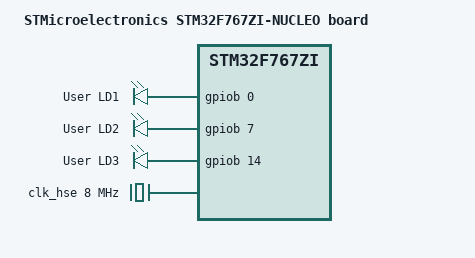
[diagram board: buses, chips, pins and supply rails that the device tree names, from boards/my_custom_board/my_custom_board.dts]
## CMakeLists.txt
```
cmake_minimum_required(VERSION 3.20.0)

list(APPEND BOARD_ROOT ${CMAKE_CURRENT_SOURCE_DIR})
find_package(Zephyr REQUIRED)
project(my_zephyr_app)

add_subdirectory(drivers/led_driver)
target_sources(app PRIVATE src/main.cpp)
```

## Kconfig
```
menuconfig LED_SUBSYSTEM
    bool "LED Subsystem"
    default y

if LED_SUBSYSTEM

config APP_HEARTBEAT_PERIOD_MS
    int "LED Heartbeat period (ms)"
    default 500
    range 100 2000
    
choice 
    prompt "LED blink sleep time"
    default BLINK_SLEEP_TIME_1000MS

config BLINK_SLEEP_TIME_250MS
    bool "Very fast (250ms)"

config BLINK_SLEEP_TIME_500MS
    bool "Fast (500ms)"

config BLINK_SLEEP_TIME_1000MS
    bool "Medium (1s)"

config BLINK_SLEEP_TIME_2000MS
    bool "Slow (2s)"

endchoice 

config BLINK_SLEEP_TIME_MS
    int 
    default 250 if BLINK_SLEEP_TIME_250MS
    default 500 if BLINK_SLEEP_TIME_500MS
    default 1000 if BLINK_SLEEP_TIME_1000MS
    default 2000 if BLINK_SLEEP_TIME_2000MS
    default 0


menuconfig ADVANCED_LED_SETTINGS
    bool "Advanced LED settings"
    default n

if ADVANCED_LED_SETTINGS
config LED_BRIGHTNESS
    int "LED brightness (0-100)"
    default 100
    range 0 100

config LED_FADE_DURATION_MS
    int "LED fade duration (ms)"
    default 500
    range 0 5000

menu "Expert settings"
    visible if ADVANCED_LED_SETTINGS
    
    config ENABLE_LED_DEBUGGING
        bool "Enable LED debugging"
        default n

    config CUSTOM_BLINK_PATTERN
        bool "Custom blink pattern"
        default n

endmenu

endif #ADVANCED_LED_SETTINGS
endif #LED_SUBSYSTEM

rsource "drivers/led_driver/Kconfig"
source "Kconfig.zephyr"
```

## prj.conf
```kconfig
CONFIG_GPIO=y
CONFIG_LOG=y
CONFIG_LED_SUBSYSTEM=y
CONFIG_BLINK_SLEEP_TIME_1000MS=y
CONFIG_APP_HEARTBEAT_PERIOD_MS=1000
CONFIG_LED_DRIVER=y
CONFIG_SHELL=y
```

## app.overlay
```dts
/ {
    led_driver0: led_driver {
        compatible = "led,driver";
        status = "okay";
    };
};
```

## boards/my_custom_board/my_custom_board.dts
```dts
/*
 * Copyright (c) 2019 Roland Ma
 *
 * SPDX-License-Identifier: Apache-2.0
 */

/dts-v1/;
#include <st/f7/stm32f767Xi.dtsi>
#include <st/f7/stm32f767zitx-pinctrl.dtsi>

/ {
	model = "STMicroelectronics STM32F767ZI-NUCLEO board";
	compatible = "st,stm32f767zi-nucleo";

	chosen {
		zephyr,sram = &sram0;
		zephyr,flash = &flash0;
		zephyr,code-partition = &slot0_partition;
	};

	leds: leds {
		compatible = "gpio-leds";

		green_led: led_0 {
			gpios = <&gpiob 0 GPIO_ACTIVE_HIGH>;
			label = "User LD1";
		};

		blue_led: led_1 {
			gpios = <&gpiob 7 GPIO_ACTIVE_HIGH>;
			label = "User LD2";
		};

		red_led: led_2 {
			gpios = <&gpiob 14 GPIO_ACTIVE_HIGH>;
			label = "User LD3";
		};
	};

	aliases {
		led0 = &green_led;
		led1 = &blue_led;
		led2 = &red_led;
	};
};

&flash0 {
	partitions {
		compatible = "fixed-partitions";
		#address-cells = <1>;
		#size-cells = <1>;

		/*
		 * The two sectors 0-1 (32+32 kbytes) are reserved for
		 * the bootloader.
		 */
		boot_partition: partition@0 {
			label = "mcuboot";
			reg = <0x0 DT_SIZE_K(64)>;
			read-only;
		};

		/*
		 * The flash starting at offset 0x10000 and ending at
		 * offset 0x1ffff is reserved for use by the application.
		 * This represents sectors 2-3 (32+32 kbytes)
		 */
		storage_partition: partition@10000 {
			label = "storage";
			reg = <0x00010000 DT_SIZE_K(64)>;
		};

		/*
		 * Sector 4 (128 kbytes) unallocated.
		 */

		/*
		 * Allocated 3 (256k x 3) sectors for image-0. Sectors 5-7.
		 */
		slot0_partition: partition@40000 {
			label = "image-0";
			reg = <0x00040000 DT_SIZE_K(768)>;
		};

		/*
		 * Allocated 3 (256k x 3) sectors for image-1. Sectors 8-10.
		 */
		slot1_partition: partition@100000 {
			label = "image-1";
			reg = <0x00100000 DT_SIZE_K(768)>;
		};

		/*
		 * Allocated 1 (256k) sector for image-scratch. Sector 11.
		 */
		scratch_partition: partition@1c0000 {
			label = "image-scratch";
			reg = <0x001c0000 DT_SIZE_K(256)>;
		};
	};
};

&clk_hse {
	hse-bypass;
	clock-frequency = <DT_FREQ_M(8)>; /* STLink 8MHz clock */
	status = "okay";
};

&pll {
	div-m = <4>;
	mul-n = <216>;
	div-p = <2>;
	div-q = <9>;
	clocks = <&clk_hse>;
	status = "okay";
};

&rcc {
	clocks = <&pll>;
	clock-frequency = <DT_FREQ_M(216)>;
	ahb-prescaler = <1>;
	apb1-prescaler = <4>;
	apb2-prescaler = <2>;
};
```

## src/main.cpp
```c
#include <zephyr/drivers/gpio.h>
#include <zephyr/kernel.h>
#include <zephyr/logging/log.h>
#include <zephyr/drivers/sensor.h>
#include "task2_led_driver.h"

LOG_MODULE_REGISTER(main, LOG_LEVEL_INF);

const struct device *driver = DEVICE_DT_GET(DT_NODELABEL(led_driver0));

int main(void)
{
    int ret = 0;
    if (!device_is_ready(driver)) {
        LOG_ERR("LED driver device not ready");
        return -ENODEV;
    }
    struct sensor_value val;
    int brightness = 50; 
    ret = led_driver_set_brightness(driver, brightness);
    if (ret < 0) {
        LOG_ERR("Failed to set LED brightness (%d)", ret);
        return ret;
    }

    while (1) {
        ret = sensor_sample_fetch(driver);
        if (ret < 0) {
            LOG_ERR("Failed to fetch sample from LED driver (%d)", ret);
            return ret;
        }
        k_msleep(CONFIG_APP_HEARTBEAT_PERIOD_MS);

        ret = sensor_channel_get(driver, SENSOR_CHAN_AMBIENT_TEMP, &val);
        if (ret < 0) {
            LOG_ERR("Failed to get channel (%d)", ret);
            return ret;
        }

        LOG_INF("LED driver channel get returned value: %d", ret);

        k_msleep(CONFIG_APP_HEARTBEAT_PERIOD_MS);
    }
    return 0;
}
```
